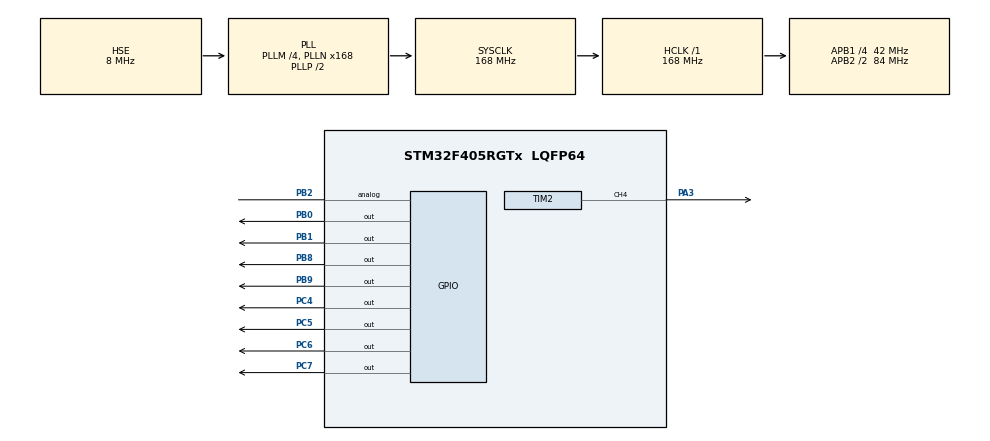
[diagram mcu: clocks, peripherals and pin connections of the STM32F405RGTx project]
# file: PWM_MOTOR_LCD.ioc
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Mcu.Family=STM32F4
Mcu.Name=STM32F405RGTx
Mcu.Package=LQFP64
NVIC.PriorityGroup=NVIC_PRIORITYGROUP_4
PA13.Mode=Serial_Wire
PA13.Signal=SYS_JTMS-SWDIO
PA14.Mode=Serial_Wire
PA14.Signal=SYS_JTCK-SWCLK
PA3.Signal=S_TIM2_CH4
PB0.Signal=GPIO_Output
PB1.Signal=GPIO_Output
PB2.Signal=GPIO_Analog
PB8.Signal=GPIO_Output
PB9.Signal=GPIO_Output
PC4.Signal=GPIO_Output
PC5.Signal=GPIO_Output
PC6.Signal=GPIO_Output
PC7.Signal=GPIO_Output
PH0-OSC_IN.Mode=HSE-External-Oscillator
PH0-OSC_IN.Signal=RCC_OSC_IN
PH1-OSC_OUT.Mode=HSE-External-Oscillator
PH1-OSC_OUT.Signal=RCC_OSC_OUT
ProjectManager.HeapSize=0x200
ProjectManager.StackSize=0x400
ProjectManager.TargetToolchain=EWARM V8.32
RCC.48MHZClocksFreq_Value=84000000
RCC.AHBFreq_Value=168000000
RCC.APB1CLKDivider=RCC_HCLK_DIV4
RCC.APB1Freq_Value=42000000
RCC.APB1TimFreq_Value=84000000
RCC.APB2CLKDivider=RCC_HCLK_DIV2
RCC.APB2Freq_Value=84000000
RCC.APB2TimFreq_Value=168000000
RCC.CortexFreq_Value=168000000
RCC.HCLKFreq_Value=168000000
RCC.HSE_VALUE=8000000
RCC.HSI_VALUE=16000000
RCC.LSE_VALUE=32768
RCC.PLLM=4
RCC.PLLN=168
RCC.PLLSourceVirtual=RCC_PLLSOURCE_HSE
RCC.SYSCLKFreq_VALUE=168000000
RCC.SYSCLKSource=RCC_SYSCLKSOURCE_PLLCLK
RCC.VCOOutputFreq_Value=336000000
SH.S_TIM2_CH4.0=TIM2_CH4,PWM Generation4 CH4
TIM2.Channel-PWM\ Generation4\ CH4=TIM_CHANNEL_4
VP_TIM2_VS_ClockSourceINT.Mode=Internal
board=custom

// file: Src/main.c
/* USER CODE BEGIN Header */
/**
  ******************************************************************************
  * @file           : main.c
  * @brief          : Main program body
  ******************************************************************************
  * @attention
  *
  * <h2><center>&copy; Copyright (c) 2020 STMicroelectronics.
  * All rights reserved.</center></h2>
  *
  * This software component is licensed by ST under BSD 3-Clause license,
  * the "License"; You may not use this file except in compliance with the
  * License. You may obtain a copy of the License at:
  *                        opensource.org/licenses/BSD-3-Clause
  *
  ******************************************************************************
  */
/* USER CODE END Header */

#include "main.h"
#include "tim.h"
#include "gpio.h"

/* USER CODE BEGIN Includes */
#include "lcd.h"
#include "stdio.h"
/* USER CODE END Includes */

void SystemClock_Config(void);

int main(void)
{

  /* MCU Configuration--------------------------------------------------------*/

  /* Reset of all peripherals, Initializes the Flash interface and the Systick. */
  HAL_Init();

  /* Configure the system clock */
  SystemClock_Config();

  /* Initialize all configured peripherals */
  MX_GPIO_Init();
  MX_TIM2_Init();
  /* USER CODE BEGIN 2 */
   lcdInit();
   HAL_TIM_PWM_Start(&htim2,TIM_CHANNEL_4);
   uint16_t cnt=0,pwmduty=70;
   char str[16];
  /* USER CODE END 2 */

  /* Infinite loop */
  /* USER CODE BEGIN WHILE */
   HAL_GPIO_WritePin(GPIOB,GPIO_PIN_8,GPIO_PIN_SET);
    HAL_GPIO_WritePin(GPIOB,GPIO_PIN_9,GPIO_PIN_RESET);

    lcdClear();
    lcdGotoXY(0,0);
    lcdPrintData("Duty : ",7);
  while (1)
  {

    if(cnt)
    {
      pwmduty--;
      if(pwmduty==70) cnt=0;
    }
    else
    {
      pwmduty++;
      if(pwmduty==99) cnt=1;

    }

    TIM2->CCR4=pwmduty;

    sprintf(str,"%d",pwmduty);
    lcdGotoXY(7,0);
    lcdPrint(str);

    HAL_Delay(500);

    /* USER CODE END WHILE */

  }
}

void SystemClock_Config(void)
{
  RCC_OscInitTypeDef RCC_OscInitStruct = {0};
  RCC_ClkInitTypeDef RCC_ClkInitStruct = {0};

  /** Configure the main internal regulator output voltage
  */
  __HAL_RCC_PWR_CLK_ENABLE();
  __HAL_PWR_VOLTAGESCALING_CONFIG(PWR_REGULATOR_VOLTAGE_SCALE1);
  /** Initializes the CPU, AHB and APB busses clocks
  */
  RCC_OscInitStruct.OscillatorType = RCC_OSCILLATORTYPE_HSE;
  RCC_OscInitStruct.HSEState = RCC_HSE_ON;
  RCC_OscInitStruct.PLL.PLLState = RCC_PLL_ON;
  RCC_OscInitStruct.PLL.PLLSource = RCC_PLLSOURCE_HSE;
  RCC_OscInitStruct.PLL.PLLM = 4;
  RCC_OscInitStruct.PLL.PLLN = 168;
  RCC_OscInitStruct.PLL.PLLP = RCC_PLLP_DIV2;
  RCC_OscInitStruct.PLL.PLLQ = 4;
  if (HAL_RCC_OscConfig(&RCC_OscInitStruct) != HAL_OK)
  {
    Error_Handler();
  }
  /** Initializes the CPU, AHB and APB busses clocks
  */
  RCC_ClkInitStruct.ClockType = RCC_CLOCKTYPE_HCLK|RCC_CLOCKTYPE_SYSCLK
                              |RCC_CLOCKTYPE_PCLK1|RCC_CLOCKTYPE_PCLK2;
  RCC_ClkInitStruct.SYSCLKSource = RCC_SYSCLKSOURCE_PLLCLK;
  RCC_ClkInitStruct.AHBCLKDivider = RCC_SYSCLK_DIV1;
  RCC_ClkInitStruct.APB1CLKDivider = RCC_HCLK_DIV4;
  RCC_ClkInitStruct.APB2CLKDivider = RCC_HCLK_DIV2;

  if (HAL_RCC_ClockConfig(&RCC_ClkInitStruct, FLASH_LATENCY_5) != HAL_OK)
  {
    Error_Handler();
  }
}

void Error_Handler(void)
{
}

/************************ (C) COPYRIGHT STMicroelectronics *****END OF FILE****/
